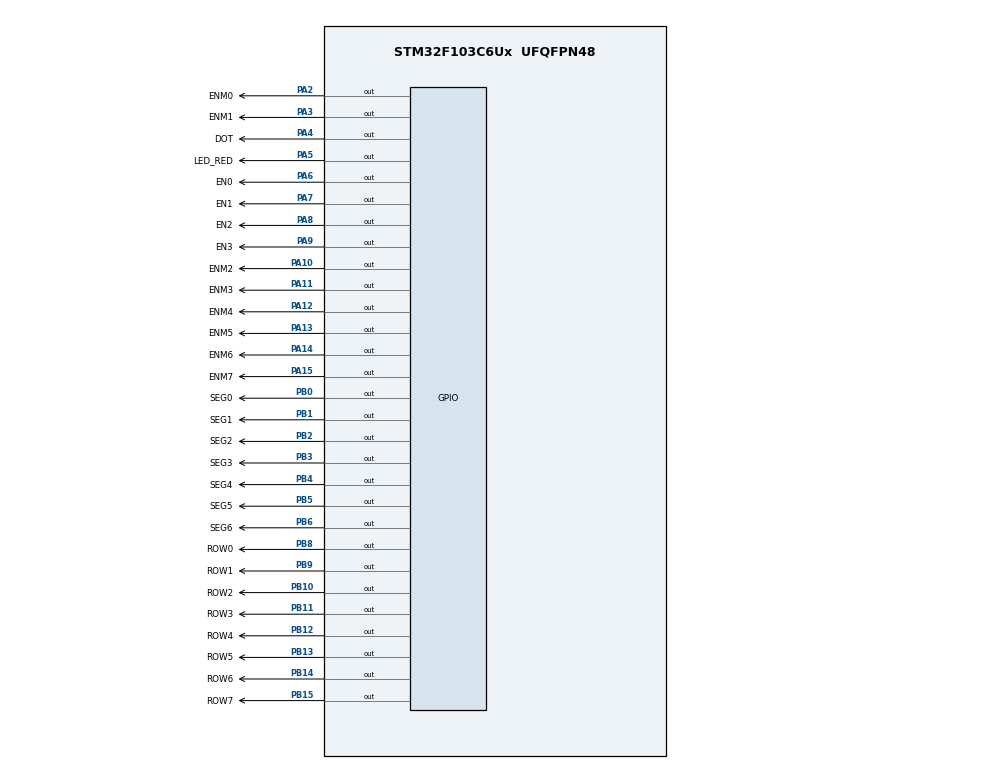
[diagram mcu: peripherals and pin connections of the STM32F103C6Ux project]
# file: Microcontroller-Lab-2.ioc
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Mcu.Family=STM32F1
Mcu.Name=STM32F103C6Ux
Mcu.Package=UFQFPN48
NVIC.PriorityGroup=NVIC_PRIORITYGROUP_4
NVIC.TIM2_IRQn=true\:0\:0\:false\:false\:true\:true\:true
PA10.GPIO_Label=ENM2
PA10.Signal=GPIO_Output
PA11.GPIO_Label=ENM3
PA11.Signal=GPIO_Output
PA12.GPIO_Label=ENM4
PA12.Signal=GPIO_Output
PA13.GPIO_Label=ENM5
PA13.Signal=GPIO_Output
PA14.GPIO_Label=ENM6
PA14.Signal=GPIO_Output
PA15.GPIO_Label=ENM7
PA15.Signal=GPIO_Output
PA2.GPIO_Label=ENM0
PA2.Signal=GPIO_Output
PA3.GPIO_Label=ENM1
PA3.Signal=GPIO_Output
PA4.GPIO_Label=DOT
PA4.Signal=GPIO_Output
PA5.GPIO_Label=LED_RED
PA5.Signal=GPIO_Output
PA6.GPIO_Label=EN0
PA6.Signal=GPIO_Output
PA7.GPIO_Label=EN1
PA7.Signal=GPIO_Output
PA8.GPIO_Label=EN2
PA8.Signal=GPIO_Output
PA9.GPIO_Label=EN3
PA9.Signal=GPIO_Output
PB0.GPIO_Label=SEG0
PB0.Signal=GPIO_Output
PB1.GPIO_Label=SEG1
PB1.Signal=GPIO_Output
PB10.GPIO_Label=ROW2
PB10.Signal=GPIO_Output
PB11.GPIO_Label=ROW3
PB11.Signal=GPIO_Output
PB12.GPIO_Label=ROW4
PB12.Signal=GPIO_Output
PB13.GPIO_Label=ROW5
PB13.Signal=GPIO_Output
PB14.GPIO_Label=ROW6
PB14.Signal=GPIO_Output
PB15.GPIO_Label=ROW7
PB15.Signal=GPIO_Output
PB2.GPIO_Label=SEG2
PB2.Signal=GPIO_Output
PB3.GPIO_Label=SEG3
PB3.Signal=GPIO_Output
PB4.GPIO_Label=SEG4
PB4.Signal=GPIO_Output
PB5.GPIO_Label=SEG5
PB5.Signal=GPIO_Output
PB6.GPIO_Label=SEG6
PB6.Signal=GPIO_Output
PB8.GPIO_Label=ROW0
PB8.Signal=GPIO_Output
PB9.GPIO_Label=ROW1
PB9.Signal=GPIO_Output
ProjectManager.HeapSize=0x200
ProjectManager.StackSize=0x400
ProjectManager.TargetToolchain=STM32CubeIDE
RCC.APB1Freq_Value=8000000
RCC.APB2Freq_Value=8000000
TIM2.Period=9
TIM2.Prescaler=7999
VP_SYS_VS_ND.Mode=No_Debug
VP_TIM2_VS_ClockSourceINT.Mode=Internal
board=custom

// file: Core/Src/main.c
/* USER CODE BEGIN Header */
/**
  ******************************************************************************
  * @file           : main.c
  * @brief          : Main program body
  ******************************************************************************
  * @attention
  *
  * <h2><center>&copy; Copyright (c) 2022 STMicroelectronics.
  * All rights reserved.</center></h2>
  *
  * This software component is licensed by ST under BSD 3-Clause license,
  * the "License"; You may not use this file except in compliance with the
  * License. You may obtain a copy of the License at:
  *                        opensource.org/licenses/BSD-3-Clause
  *
  ******************************************************************************
  */
/* USER CODE END Header */
#include "main.h"

/* USER CODE BEGIN Includes */
#include "led.h"
#include "hardware_control.h"
/* USER CODE END Includes */

TIM_HandleTypeDef htim2;

void SystemClock_Config(void);
static void MX_GPIO_Init(void);
static void MX_TIM2_Init(void);

int main(void)
{

  /* MCU Configuration--------------------------------------------------------*/

  /* Reset of all peripherals, Initializes the Flash interface and the Systick. */
  HAL_Init();

  /* Configure the system clock */
  SystemClock_Config();

  /* Initialize all configured peripherals */
  MX_GPIO_Init();
  MX_TIM2_Init();
  /* USER CODE BEGIN 2 */
  HAL_TIM_Base_Start_IT(&htim2);
  initGPIO();
  /* USER CODE END 2 */

  /* Infinite loop */
  while (1)
  {

  }
}

void SystemClock_Config(void)
{
  RCC_OscInitTypeDef RCC_OscInitStruct = {0};
  RCC_ClkInitTypeDef RCC_ClkInitStruct = {0};

  /** Initializes the RCC Oscillators according to the specified parameters
  * in the RCC_OscInitTypeDef structure.
  */
  RCC_OscInitStruct.OscillatorType = RCC_OSCILLATORTYPE_HSI;
  RCC_OscInitStruct.HSIState = RCC_HSI_ON;
  RCC_OscInitStruct.HSICalibrationValue = RCC_HSICALIBRATION_DEFAULT;
  RCC_OscInitStruct.PLL.PLLState = RCC_PLL_NONE;
  if (HAL_RCC_OscConfig(&RCC_OscInitStruct) != HAL_OK)
  {
    Error_Handler();
  }
  /** Initializes the CPU, AHB and APB buses clocks
  */
  RCC_ClkInitStruct.ClockType = RCC_CLOCKTYPE_HCLK|RCC_CLOCKTYPE_SYSCLK
                              |RCC_CLOCKTYPE_PCLK1|RCC_CLOCKTYPE_PCLK2;
  RCC_ClkInitStruct.SYSCLKSource = RCC_SYSCLKSOURCE_HSI;
  RCC_ClkInitStruct.AHBCLKDivider = RCC_SYSCLK_DIV1;
  RCC_ClkInitStruct.APB1CLKDivider = RCC_HCLK_DIV1;
  RCC_ClkInitStruct.APB2CLKDivider = RCC_HCLK_DIV1;

  if (HAL_RCC_ClockConfig(&RCC_ClkInitStruct, FLASH_LATENCY_0) != HAL_OK)
  {
    Error_Handler();
  }
}

static void MX_TIM2_Init(void)
{

  TIM_ClockConfigTypeDef sClockSourceConfig = {0};
  TIM_MasterConfigTypeDef sMasterConfig = {0};

  htim2.Instance = TIM2;
  htim2.Init.Prescaler = 7999;
  htim2.Init.CounterMode = TIM_COUNTERMODE_UP;
  htim2.Init.Period = 9;
  htim2.Init.ClockDivision = TIM_CLOCKDIVISION_DIV1;
  htim2.Init.AutoReloadPreload = TIM_AUTORELOAD_PRELOAD_DISABLE;
  if (HAL_TIM_Base_Init(&htim2) != HAL_OK)
  {
    Error_Handler();
  }
  sClockSourceConfig.ClockSource = TIM_CLOCKSOURCE_INTERNAL;
  if (HAL_TIM_ConfigClockSource(&htim2, &sClockSourceConfig) != HAL_OK)
  {
    Error_Handler();
  }
  sMasterConfig.MasterOutputTrigger = TIM_TRGO_RESET;
  sMasterConfig.MasterSlaveMode = TIM_MASTERSLAVEMODE_DISABLE;
  if (HAL_TIMEx_MasterConfigSynchronization(&htim2, &sMasterConfig) != HAL_OK)
  {
    Error_Handler();
  }

}

static void MX_GPIO_Init(void)
{
  GPIO_InitTypeDef GPIO_InitStruct = {0};

  /* GPIO Ports Clock Enable */
  __HAL_RCC_GPIOA_CLK_ENABLE();
  __HAL_RCC_GPIOB_CLK_ENABLE();

  /*Configure GPIO pin Output Level */
  HAL_GPIO_WritePin(GPIOA, LED_RED_Pin|EN0_Pin|EN1_Pin, GPIO_PIN_RESET);

  /*Configure GPIO pin Output Level */
  HAL_GPIO_WritePin(GPIOB, SEG0_Pin|SEG1_Pin|SEG2_Pin|SEG3_Pin
                          |SEG4_Pin|SEG5_Pin|SEG6_Pin, GPIO_PIN_RESET);

  /*Configure GPIO pins : LED_RED_Pin EN0_Pin EN1_Pin */
  GPIO_InitStruct.Pin = LED_RED_Pin|EN0_Pin|EN1_Pin;
  GPIO_InitStruct.Mode = GPIO_MODE_OUTPUT_PP;
  GPIO_InitStruct.Pull = GPIO_NOPULL;
  GPIO_InitStruct.Speed = GPIO_SPEED_FREQ_LOW;
  HAL_GPIO_Init(GPIOA, &GPIO_InitStruct);

  /*Configure GPIO pins : SEG0_Pin SEG1_Pin SEG2_Pin SEG3_Pin
                           SEG4_Pin SEG5_Pin SEG6_Pin */
  GPIO_InitStruct.Pin = SEG0_Pin|SEG1_Pin|SEG2_Pin|SEG3_Pin
                          |SEG4_Pin|SEG5_Pin|SEG6_Pin;
  GPIO_InitStruct.Mode = GPIO_MODE_OUTPUT_PP;
  GPIO_InitStruct.Pull = GPIO_NOPULL;
  GPIO_InitStruct.Speed = GPIO_SPEED_FREQ_LOW;
  HAL_GPIO_Init(GPIOB, &GPIO_InitStruct);

}

/* USER CODE BEGIN 4 */
int counter = 50;
int led_counter = 100;
void HAL_TIM_PeriodElapsedCallback(TIM_HandleTypeDef *htim){
  if(counter > 0)
  {
    counter--;
    if(counter <= 0)
    {
    	changeEN();
    	counter = 50;
    }
  }
  if(led_counter > 0)
  {
    led_counter--;
    if(led_counter <= 0)
    {
      led_counter = 100;
      blinkLED();
    }
  }
}
/* USER CODE END 4 */

void Error_Handler(void)
{
  __disable_irq();
  while (1)
  {
  }
}

/************************ (C) COPYRIGHT STMicroelectronics *****END OF FILE****/
